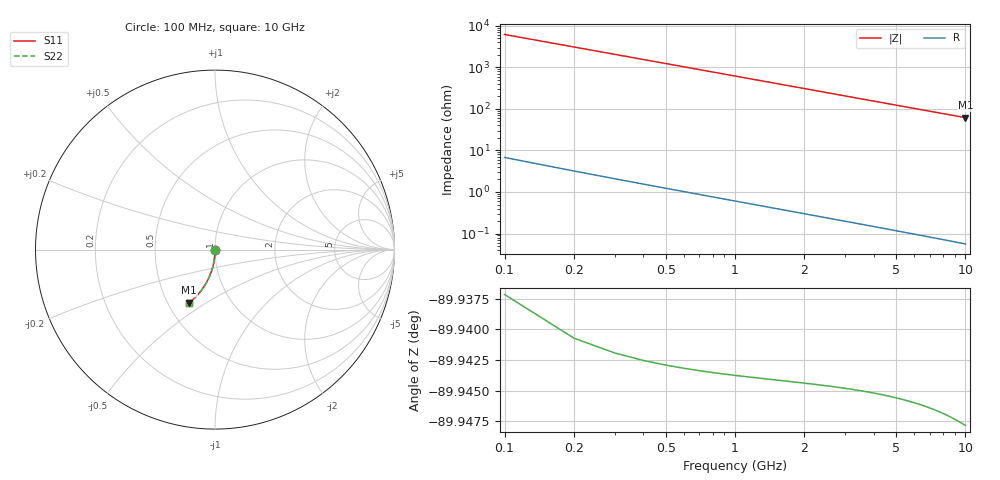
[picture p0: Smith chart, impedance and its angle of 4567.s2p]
# Hz S RI R 50.00
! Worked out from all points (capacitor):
!   100 points, 100 MHz to 10 GHz, reference 50 ohm
!   read as one part in shunt: C = 257 fF near 100 MHz
!   lowest |Z| = 61.8 ohm at 10 GHz (marker M1)
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1e8  0.000143 -0.00348  0.9998 -0.00461  0.9998 -0.00461  0.000143 -0.00348
2e8  9.18e-05 -0.00696  0.9998 -0.00921  0.9998 -0.00921  9.18e-05 -0.00696
3e8  8.5e-06 -0.0104  0.9997 -0.0138  0.9997 -0.0138  8.5e-06 -0.0104
4e8  -0.000107 -0.0139  0.9996 -0.0184  0.9996 -0.0184  -0.000107 -0.0139
5e8  -0.000255 -0.0174  0.9994 -0.023  0.9994 -0.023  -0.000255 -0.0174
6e8  -0.000434 -0.0209  0.9992 -0.0276  0.9992 -0.0276  -0.000434 -0.0209
7e8  -0.000646 -0.0243  0.999 -0.0322  0.999 -0.0322  -0.000646 -0.0243
8e8  -0.00089 -0.0278  0.9987 -0.0368  0.9987 -0.0368  -0.00089 -0.0278
9e8  -0.00117 -0.0313  0.9984 -0.0414  0.9984 -0.0414  -0.00117 -0.0313
1.1e9  -0.00181 -0.0382  0.9978 -0.0506  0.9978 -0.0506  -0.00181 -0.0382
1.4e9  -0.00303 -0.0486  0.9965 -0.0644  0.9965 -0.0644  -0.00303 -0.0486
1.8e9  -0.00509 -0.0624  0.9944 -0.0827  0.9944 -0.0827  -0.00509 -0.0624
2.1e9  -0.00696 -0.0726  0.9924 -0.0964  0.9924 -0.0964  -0.00696 -0.0726
2.5e9  -0.0099 -0.0862  0.9893 -0.1145  0.9893 -0.1145  -0.0099 -0.0862
2.9e9  -0.0133 -0.0997  0.9858 -0.1325  0.9858 -0.1325  -0.0133 -0.0997
3.4e9  -0.0183 -0.1163  0.9806 -0.1548  0.9806 -0.1548  -0.0183 -0.1163
4.2e9  -0.0278 -0.1423  0.9707 -0.1899  0.9707 -0.1899  -0.0278 -0.1423
5.1e9  -0.0407 -0.1705  0.9573 -0.2284  0.9573 -0.2284  -0.0407 -0.1705
5.9e9  -0.0539 -0.1944  0.9434 -0.2615  0.9434 -0.2615  -0.0539 -0.1944
6.7e9  -0.0687 -0.2171  0.928 -0.2935  0.928 -0.2935  -0.0687 -0.2171
8.4e9  -0.1047 -0.2608  0.8902 -0.3571  0.8902 -0.3571  -0.1047 -0.2608
1e10  -0.1431 -0.2957  0.8498 -0.4109  0.8498 -0.4109  -0.1431 -0.2957
